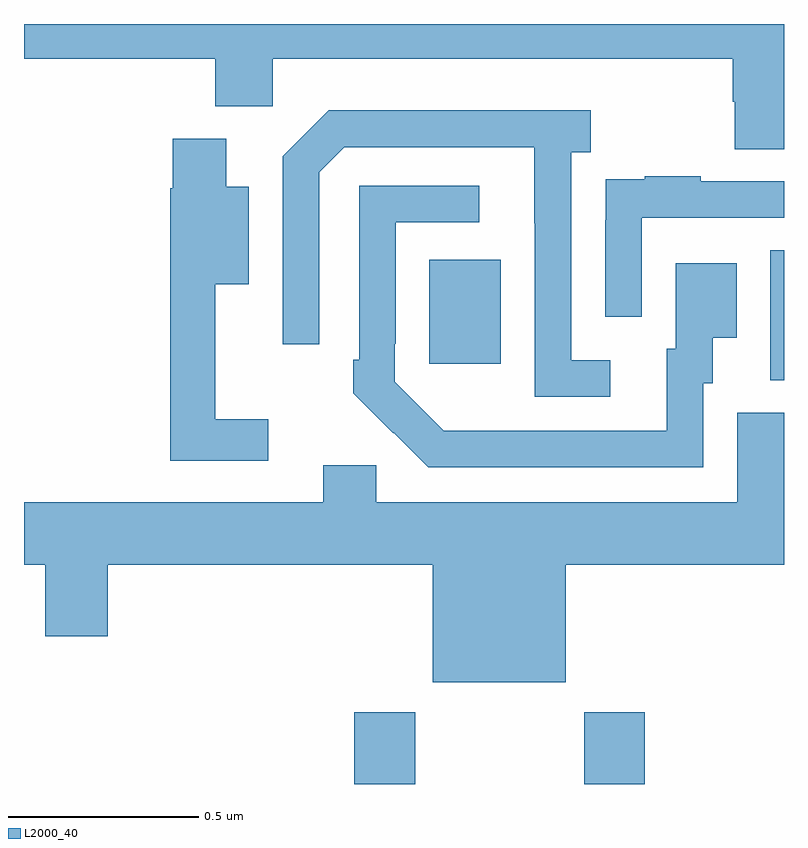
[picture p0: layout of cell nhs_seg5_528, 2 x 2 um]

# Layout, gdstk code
import gdstk
lib = gdstk.Library(unit=1e-6, precision=1e-09)
def R(c, l, rs):  # rectangles x0, y0, x1, y1
    for r in rs: c.add(gdstk.rectangle(r[:2], r[2:], *l))
def P(c, l, *ps):  # polygons
    for p in ps: c.add(gdstk.Polygon(p, *l))
L2000_40 = (2000, 40)

nhs_seg5_528 = lib.new_cell('nhs_seg5_528')
R(nhs_seg5_528, L2000_40, [(117.869,906.799,118.029,906.988), (118.474,906.799,118.634,906.988), (118.964,907.861,119,908.204), (118.067,907.905,118.255,908.179)])
P(nhs_seg5_528, L2000_40, [(119,908.799),(117,908.799),(117,908.708),(117.503,908.708),(117.503,908.582),(117.654,908.582),(117.654,908.708),(118.865,908.708),(118.865,908.595),(118.87,908.595),(118.87,908.47),(119,908.47)],
  [(118.543,907.914),(118.44,907.914),(118.44,908.462),(118.492,908.462),(118.492,908.572),(117.802,908.572),(117.681,908.451),(117.681,907.956),(117.777,907.956),(117.777,908.409),(117.843,908.475),(118.343,908.475),(118.343,908.275),(118.344,908.275),(118.344,907.818),(118.543,907.818)],
  [(117.643,907.759),(117.503,907.759),(117.503,908.114),(117.592,908.114),(117.592,908.371),(117.532,908.371),(117.532,908.497),(117.392,908.497),(117.392,908.367),(117.385,908.367),(117.385,907.65),(117.643,907.65)],
  [(118.626,908.289),(119,908.289),(119,908.385),(118.781,908.385),(118.781,908.398),(118.633,908.398),(118.633,908.391),(118.531,908.391),(118.531,908.282),(118.53,908.282),(118.53,908.028),(118.626,908.028)],
  [(118.788,907.854),(118.813,907.854),(118.813,907.973),(118.876,907.973),(118.876,908.17),(118.715,908.17),(118.715,907.944),(118.691,907.944),(118.691,907.728),(118.207,907.728),(118.207,907.729),(118.104,907.729),(117.975,907.857),(117.975,907.957),(117.978,907.957),(117.978,908.277),(118.198,908.277),(118.198,908.373),(117.882,908.373),(117.882,907.915),(117.867,907.915),(117.867,907.827),(117.972,907.722),(117.973,907.723),(118.064,907.632),(118.788,907.632)],
  [(118.426,907.376),(119,907.376),(119,907.776),(118.877,907.776),(118.877,907.54),(117.927,907.54),(117.927,907.638),(117.788,907.638),(117.788,907.54),(117,907.54),(117,907.376),(117.056,907.376),(117.056,907.188),(117.22,907.188),(117.22,907.376),(118.076,907.376),(118.076,907.067),(118.426,907.067)])

lib.write_gds('nhs_seg5_528.gds')
